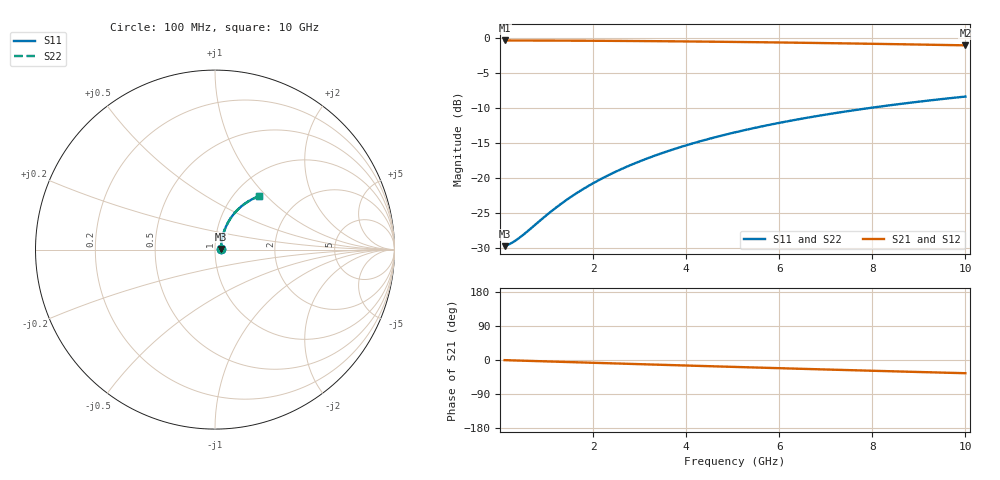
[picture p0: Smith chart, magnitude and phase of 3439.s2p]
# Hz S RI R 50.00
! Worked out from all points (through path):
!   100 points, 100 MHz to 10 GHz, reference 50 ohm
!   highest |S21| = -0.28 dB at 100 MHz (marker M1); lowest = -1.0 dB at 10 GHz (marker M2)
!   group delay of S21, straight-line fit = 9.71 ps
!   lowest |S11| = -29.7 dB at 100 MHz (marker M3), VSWR 1.07, Z = 53.3 + j0.437 ohm
!   |S11| at or under -10 dB: start of sweep to 7.9 GHz
!   |S22| runs from -29.7 to -8.3 dB; largest |S21 - S12| = 0
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1e8  0.0323 0.00409  0.9677 -0.00621  0.9677 -0.00621  0.0323 0.00409
2e8  0.0326 0.00818  0.9674 -0.0124  0.9674 -0.0124  0.0326 0.00818
3e8  0.0329 0.0123  0.9671 -0.0186  0.9671 -0.0186  0.0329 0.0123
4e8  0.0332 0.0163  0.9668 -0.0248  0.9668 -0.0248  0.0332 0.0163
6e8  0.0339 0.0245  0.966 -0.0372  0.966 -0.0372  0.0339 0.0245
1e9  0.0358 0.0407  0.9639 -0.0619  0.9639 -0.0619  0.0358 0.0407
1.2e9  0.0371 0.0488  0.9625 -0.0742  0.9625 -0.0742  0.0371 0.0488
1.5e9  0.0394 0.0608  0.9601 -0.0925  0.9601 -0.0925  0.0394 0.0608
1.8e9  0.0421 0.0726  0.9572 -0.1108  0.9572 -0.1108  0.0421 0.0726
2.1e9  0.0452 0.0844  0.9537 -0.1289  0.9537 -0.1289  0.0452 0.0844
2.5e9  0.0501 0.0998  0.9485 -0.1528  0.9485 -0.1528  0.0501 0.0998
2.9e9  0.0556 0.1149  0.9424 -0.1764  0.9424 -0.1764  0.0556 0.1149
3.4e9  0.0637 0.1333  0.9336 -0.2054  0.9336 -0.2054  0.0637 0.1333
3.8e9  0.0708 0.1475  0.9258 -0.2282  0.9258 -0.2282  0.0708 0.1475
4.2e9  0.0787 0.1613  0.9172 -0.2505  0.9172 -0.2505  0.0787 0.1613
4.6e9  0.0872 0.1746  0.9079 -0.2723  0.9079 -0.2723  0.0872 0.1746
5.1e9  0.0986 0.1905  0.8953 -0.2989  0.8953 -0.2989  0.0986 0.1905
5.9e9  0.1186 0.2141  0.8733 -0.3396  0.8733 -0.3396  0.1186 0.2141
6.7e9  0.1405 0.2354  0.849 -0.3781  0.849 -0.3781  0.1405 0.2354
7.5e9  0.164 0.2542  0.8229 -0.4141  0.8229 -0.4141  0.164 0.2542
8.4e9  0.1918 0.2722  0.7916 -0.4516  0.7916 -0.4516  0.1918 0.2722
1e10  0.2437 0.2962  0.7326 -0.5103  0.7326 -0.5103  0.2437 0.2962
